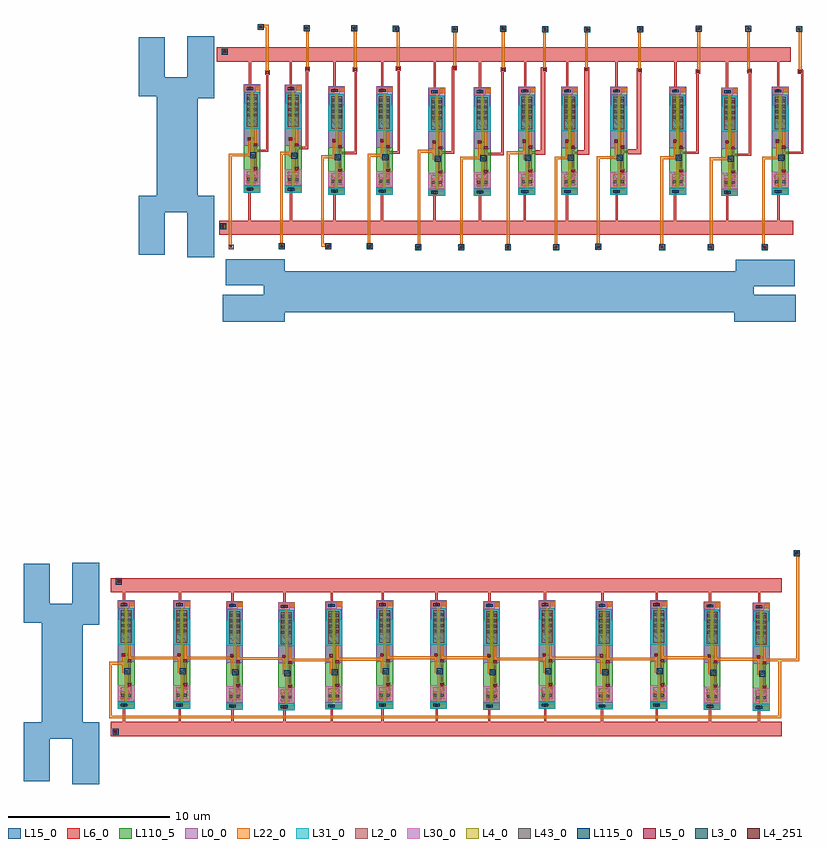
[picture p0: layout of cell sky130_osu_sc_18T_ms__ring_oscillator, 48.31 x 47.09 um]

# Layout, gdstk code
import gdstk
lib = gdstk.Library(unit=1e-6, precision=1e-09)
def R(c, l, rs):  # rectangles x0, y0, x1, y1
    for r in rs: c.add(gdstk.rectangle(r[:2], r[2:], *l))
def A(c, l, x, y, w, h, nx, ny, dx, dy):  # array of equal rectangles
    R(c, l, [(x+i*dx, y+j*dy, x+i*dx+w, y+j*dy+h) for i in range(nx) for j in range(ny)])
L0_0 = (0, 0)
L2_0 = (2, 0)
L3_0 = (3, 0)
L4_0 = (4, 0)
L4_251 = (4, 251)
L5_0 = (5, 0)
L6_0 = (6, 0)
L15_0 = (15, 0)
L22_0 = (22, 0)
L30_0 = (30, 0)
L31_0 = (31, 0)
L43_0 = (43, 0)
L110_5 = (110, 5)
L115_0 = (115, 0)

sky130_osu_sc_18t_ms__in = lib.new_cell('sky130_osu_sc_18T_ms__inv_l')
R(sky130_osu_sc_18t_ms__in, L0_0, [(-0.045,2.905,0.995,6.705)])
R(sky130_osu_sc_18t_ms__in, L2_0, [(0.135,0.575,0.815,1.315), (0.135,4.085,0.815,6.085)])
R(sky130_osu_sc_18t_ms__in, L3_0, [(0.135,0.135,0.545,0.305), (0.135,6.355,0.545,6.525)])
R(sky130_osu_sc_18t_ms__in, L4_0, [(0.4,0.445,0.55,2.14), (0.4,2.14,0.67,2.47), (0.4,2.47,0.55,6.215)])
R(sky130_osu_sc_18t_ms__in, L5_0, [(0.255,0.105,0.425,0.275), (0.605,1.395,0.775,1.565), (0.605,2.875,0.775,3.045), (0.235,3.245,0.405,3.415), (0.255,6.385,0.425,6.555)])
R(sky130_osu_sc_18t_ms__in, L6_0, [(0,0,0.99,0.305), (0.545,1.365,0.835,1.595), (0.605,1.595,0.775,2.845), (0.545,2.845,0.835,3.075), (0.175,3.215,0.465,3.245), (0.175,3.245,0.635,3.415), (0.175,3.415,0.465,3.445), (0,6.355,0.99,6.66)])
R(sky130_osu_sc_18t_ms__in, L22_0, [(0,0,0.99,0.305), (0.175,0.305,0.345,1.075), (0.605,0.575,0.775,1.565), (0.235,2.22,0.7,2.39), (0.235,2.39,0.405,3.415), (0.605,2.875,0.775,6.085), (0.175,4.565,0.345,6.355), (0,6.355,0.99,6.66)])
R(sky130_osu_sc_18t_ms__in, L30_0, [(-0.045,0.45,0.995,1.44), (0.01,6.23,0.67,6.65)])
R(sky130_osu_sc_18t_ms__in, L31_0, [(-0.045,0,0.995,0.43), (-0.045,3.96,0.995,5.55), (0.01,5.55,0.94,6.21)])
A(sky130_osu_sc_18t_ms__in, L43_0, 0.175, 4.73, 0.17, 0.17, 1, 4, 0, 0.34)
A(sky130_osu_sc_18t_ms__in, L43_0, 0.605, 4.73, 0.17, 0.17, 1, 4, 0, 0.34)
R(sky130_osu_sc_18t_ms__in, L43_0, [(0.255,0.135,0.425,0.305), (0.175,0.74,0.345,0.91), (0.605,0.74,0.775,0.91), (0.45,2.22,0.62,2.39), (0.255,6.355,0.425,6.525)])
R(sky130_osu_sc_18t_ms__in, L110_5, [(-0.045,0,0.995,5.55)])
R(sky130_osu_sc_18t_ms__in, L115_0, [(0.35,2.12,0.72,2.49)])
sky130_osu_sc_18t_ms__in.add(gdstk.Label('vdd', (0.34,6.42), layer=6, texttype=251))
sky130_osu_sc_18t_ms__in.add(gdstk.Label('gnd', (0.34,0.24), layer=6, texttype=251))
sky130_osu_sc_18t_ms__in.add(gdstk.Label('Y', (0.755,2.205), layer=6, texttype=237))
sky130_osu_sc_18t_ms__in.add(gdstk.Label('A', (0.32,3.33), layer=6, texttype=237))

pyl1_c_cdns_713893801020 = lib.new_cell('PYL1_C_CDNS_713893801020')
R(pyl1_c_cdns_713893801020, L4_0, [(-0.165,-0.165,0.165,0.165)])
R(pyl1_c_cdns_713893801020, L22_0, [(-0.165,-0.165,0.165,0.165)])
R(pyl1_c_cdns_713893801020, L43_0, [(-0.085,-0.085,0.085,0.085)])
R(pyl1_c_cdns_713893801020, L115_0, [(-0.185,-0.185,0.185,0.185)])

l1m1_c_cdns_713893801021 = lib.new_cell('L1M1_C_CDNS_713893801021')
R(l1m1_c_cdns_713893801021, L5_0, [(-0.085,-0.085,0.085,0.085)])
R(l1m1_c_cdns_713893801021, L6_0, [(-0.145,-0.145,0.145,0.145)])
R(l1m1_c_cdns_713893801021, L22_0, [(-0.085,-0.085,0.085,0.085)])

sky130_osu_sc_18t_ms__ri = lib.new_cell('sky130_osu_sc_18T_ms__ring_oscillator')
R(sky130_osu_sc_18t_ms__ri, L4_251, [(6.18,4.98,6.28,5.08), (6.19,4.98,6.29,5.08), (6.37,14.28,6.47,14.38), (48.37,16.08,48.47,16.18), (30.49,34.99,30.59,35.09), (46.4,34.995,46.5,35.095), (27.58,35,27.68,35.1), (33.475,35,33.575,35.1), (24.935,35.005,25.035,35.105), (40.04,35.01,40.14,35.11), (43.06,35.01,43.16,35.11), (36.08,35.02,36.18,35.12), (13.33,35.04,13.43,35.14), (16.455,35.045,16.555,35.145), (19.35,35.055,19.45,35.155), (21.935,35.06,22.035,35.16), (12.84,36.3,12.94,36.4), (12.935,47.095,13.035,47.195), (12.93,47.115,13.03,47.215), (35.4,48.495,35.5,48.595), (32.79,48.5,32.89,48.6), (27.18,48.515,27.28,48.615), (38.68,48.515,38.78,48.615), (48.525,48.525,48.625,48.625), (30.2,48.535,30.3,48.635), (23.55,48.545,23.65,48.645), (42.315,48.545,42.415,48.645), (45.38,48.555,45.48,48.655), (20.98,48.58,21.08,48.68), (18.02,48.585,18.12,48.685), (15.16,48.65,15.26,48.75)])
R(sky130_osu_sc_18t_ms__ri, L6_0, [(5.935,4.76,47.505,5.64), (5.935,13.66,47.505,14.54), (12.645,35.815,48.215,36.695), (12.485,46.555,48.055,47.435)])
R(sky130_osu_sc_18t_ms__ri, L15_0, [(3.555,1.79,5.225,5.62), (0.53,1.955,2.15,5.62), (1.665,4.595,4.2,12.955), (3.555,11.66,5.225,15.49), (0.53,11.77,2.15,15.435), (12.88,30.43,16.71,32.1), (44.545,30.43,48.375,32.1), (15.42,31.025,45.78,33.56), (44.655,32.645,48.32,34.265), (13.045,32.695,16.71,34.315), (10.675,34.42,12.345,38.25), (7.65,34.585,9.27,38.25), (8.785,37.225,11.32,45.585), (10.675,44.29,12.345,48.12), (7.65,44.4,9.27,48.065)])
R(sky130_osu_sc_18t_ms__ri, L43_0, [(13.25,34.93,13.55,35.19)])
sky130_osu_sc_18t_ms__ri.add(gdstk.FlexPath([(48.77,45.935),(48.65,45.935)], 0.14, ends=(0.07, 0), simple_path=True, layer=6, datatype=0))  # L6_0
sky130_osu_sc_18t_ms__ri.add(gdstk.FlexPath([(48.77,40.905),(48.77,45.935)], 0.14, ends="extended", simple_path=True, layer=6, datatype=0))  # L6_0
sky130_osu_sc_18t_ms__ri.add(gdstk.FlexPath([(48.08,40.905),(48.77,40.905)], 0.14, ends=(0.145, 0.07), simple_path=True, layer=6, datatype=0))  # L6_0
sky130_osu_sc_18t_ms__ri.add(gdstk.FlexPath([(45.495,45.965),(45.54,45.965)], 0.14, ends=(0, 0.07), simple_path=True, layer=6, datatype=0))  # L6_0
sky130_osu_sc_18t_ms__ri.add(gdstk.FlexPath([(45.54,45.965),(45.54,40.78)], 0.14, ends="extended", simple_path=True, layer=6, datatype=0))  # L6_0
sky130_osu_sc_18t_ms__ri.add(gdstk.FlexPath([(42.305,45.935),(42.285,45.935)], 0.14, ends=(0, 0.07), simple_path=True, layer=6, datatype=0))  # L6_0
sky130_osu_sc_18t_ms__ri.add(gdstk.FlexPath([(42.285,45.935),(42.285,40.91)], 0.14, ends="extended", simple_path=True, layer=6, datatype=0))  # L6_0
sky130_osu_sc_18t_ms__ri.add(gdstk.FlexPath([(42.285,40.91),(41.735,40.91)], 0.14, ends=(0.07, 0.145), simple_path=True, layer=6, datatype=0))  # L6_0
sky130_osu_sc_18t_ms__ri.add(gdstk.FlexPath([(38.655,45.995),(38.69,45.995)], 0.29, ends=(0.145, 0), simple_path=True, layer=6, datatype=0))  # L6_0
sky130_osu_sc_18t_ms__ri.add(gdstk.FlexPath([(38.655,40.965),(38.655,45.995)], 0.29, ends="extended", simple_path=True, layer=6, datatype=0))  # L6_0
sky130_osu_sc_18t_ms__ri.add(gdstk.FlexPath([(38.15,40.965),(38.655,40.965)], 0.29, ends="extended", simple_path=True, layer=6, datatype=0))  # L6_0
sky130_osu_sc_18t_ms__ri.add(gdstk.FlexPath([(35.415,46.055),(35.41,46.055)], 0.29, ends=(0.145, 0), simple_path=True, layer=6, datatype=0))  # L6_0
sky130_osu_sc_18t_ms__ri.add(gdstk.FlexPath([(35.415,40.91),(35.415,46.055)], 0.29, ends="extended", simple_path=True, layer=6, datatype=0))  # L6_0
sky130_osu_sc_18t_ms__ri.add(gdstk.FlexPath([(35.01,40.91),(35.415,40.91)], 0.29, ends="extended", simple_path=True, layer=6, datatype=0))  # L6_0
sky130_osu_sc_18t_ms__ri.add(gdstk.FlexPath([(32.71,46.055),(32.795,46.055)], 0.29, ends=(0.145, 0), simple_path=True, layer=6, datatype=0))  # L6_0
sky130_osu_sc_18t_ms__ri.add(gdstk.FlexPath([(32.71,40.925),(32.71,46.055)], 0.29, ends="extended", simple_path=True, layer=6, datatype=0))  # L6_0
sky130_osu_sc_18t_ms__ri.add(gdstk.FlexPath([(32.345,40.925),(32.71,40.925)], 0.29, ends="extended", simple_path=True, layer=6, datatype=0))  # L6_0
sky130_osu_sc_18t_ms__ri.add(gdstk.FlexPath([(30.2,46.055),(30.245,46.055)], 0.14, ends=(0.07, 0), simple_path=True, layer=6, datatype=0))  # L6_0
sky130_osu_sc_18t_ms__ri.add(gdstk.FlexPath([(30.2,40.825),(30.2,46.055)], 0.14, ends="extended", simple_path=True, layer=6, datatype=0))  # L6_0
sky130_osu_sc_18t_ms__ri.add(gdstk.FlexPath([(29.53,40.825),(30.2,40.825)], 0.14, ends="extended", simple_path=True, layer=6, datatype=0))  # L6_0
sky130_osu_sc_18t_ms__ri.add(gdstk.FlexPath([(27.125,46.145),(27.235,46.145)], 0.14, ends=(0.07, 0), simple_path=True, layer=6, datatype=0))  # L6_0
sky130_osu_sc_18t_ms__ri.add(gdstk.FlexPath([(27.125,40.925),(27.125,46.145)], 0.14, ends="extended", simple_path=True, layer=6, datatype=0))  # L6_0
sky130_osu_sc_18t_ms__ri.add(gdstk.FlexPath([(26.685,40.925),(27.125,40.925)], 0.14, ends=(0.145, 0.07), simple_path=True, layer=6, datatype=0))  # L6_0
sky130_osu_sc_18t_ms__ri.add(gdstk.FlexPath([(23.775,46.115),(23.74,46.115)], 0.14, ends=(0.07, 0), simple_path=True, layer=6, datatype=0))  # L6_0
sky130_osu_sc_18t_ms__ri.add(gdstk.FlexPath([(23.775,40.92),(23.775,46.115)], 0.14, ends="extended", simple_path=True, layer=6, datatype=0))  # L6_0
sky130_osu_sc_18t_ms__ri.add(gdstk.FlexPath([(21.1,46.055),(21.07,46.055)], 0.14, ends=(0.07, 0), simple_path=True, layer=6, datatype=0))  # L6_0
sky130_osu_sc_18t_ms__ri.add(gdstk.FlexPath([(21.1,40.89),(21.1,46.055)], 0.14, ends="extended", simple_path=True, layer=6, datatype=0))  # L6_0
sky130_osu_sc_18t_ms__ri.add(gdstk.FlexPath([(18.09,46.085),(18.12,46.085)], 0.14, ends=(0.07, 0), simple_path=True, layer=6, datatype=0))  # L6_0
sky130_osu_sc_18t_ms__ri.add(gdstk.FlexPath([(18.09,41.195),(18.09,46.085)], 0.14, ends="extended", simple_path=True, layer=6, datatype=0))  # L6_0
sky130_osu_sc_18t_ms__ri.add(gdstk.FlexPath([(15.625,45.875),(15.63,45.875)], 0.14, ends=(0.07, 0), simple_path=True, layer=6, datatype=0))  # L6_0
sky130_osu_sc_18t_ms__ri.add(gdstk.FlexPath([(15.625,41.02),(15.625,45.875)], 0.14, ends="extended", simple_path=True, layer=6, datatype=0))  # L6_0
sky130_osu_sc_18t_ms__ri.add(gdstk.FlexPath([(46.1,6.595),(46.1,4.925)], 0.14, ends="flush", simple_path=True, layer=6, datatype=0))  # L6_0
sky130_osu_sc_18t_ms__ri.add(gdstk.FlexPath([(43.06,6.65),(43.06,4.95)], 0.14, ends="flush", simple_path=True, layer=6, datatype=0))  # L6_0
sky130_osu_sc_18t_ms__ri.add(gdstk.FlexPath([(39.755,6.72),(39.755,4.845)], 0.14, ends="flush", simple_path=True, layer=6, datatype=0))  # L6_0
sky130_osu_sc_18t_ms__ri.add(gdstk.FlexPath([(36.37,6.665),(36.37,4.875)], 0.14, ends="flush", simple_path=True, layer=6, datatype=0))  # L6_0
sky130_osu_sc_18t_ms__ri.add(gdstk.FlexPath([(32.845,6.735),(32.845,4.945)], 0.14, ends="flush", simple_path=True, layer=6, datatype=0))  # L6_0
sky130_osu_sc_18t_ms__ri.add(gdstk.FlexPath([(29.375,6.68),(29.375,4.915)], 0.14, ends="flush", simple_path=True, layer=6, datatype=0))  # L6_0
sky130_osu_sc_18t_ms__ri.add(gdstk.FlexPath([(26.12,6.73),(26.12,4.915)], 0.14, ends="flush", simple_path=True, layer=6, datatype=0))  # L6_0
sky130_osu_sc_18t_ms__ri.add(gdstk.FlexPath([(22.76,6.72),(22.76,4.9)], 0.14, ends="flush", simple_path=True, layer=6, datatype=0))  # L6_0
sky130_osu_sc_18t_ms__ri.add(gdstk.FlexPath([(19.625,6.68),(19.625,4.895)], 0.14, ends="flush", simple_path=True, layer=6, datatype=0))  # L6_0
sky130_osu_sc_18t_ms__ri.add(gdstk.FlexPath([(16.69,6.615),(16.69,4.95)], 0.14, ends="flush", simple_path=True, layer=6, datatype=0))  # L6_0
sky130_osu_sc_18t_ms__ri.add(gdstk.FlexPath([(13.47,6.665),(13.47,4.945)], 0.14, ends="flush", simple_path=True, layer=6, datatype=0))  # L6_0
sky130_osu_sc_18t_ms__ri.add(gdstk.FlexPath([(10.195,6.735),(10.195,4.93)], 0.14, ends="flush", simple_path=True, layer=6, datatype=0))  # L6_0
sky130_osu_sc_18t_ms__ri.add(gdstk.FlexPath([(46.11,12.725),(46.11,14.41)], 0.14, ends="flush", simple_path=True, layer=6, datatype=0))  # L6_0
sky130_osu_sc_18t_ms__ri.add(gdstk.FlexPath([(43.06,12.755),(43.06,14.435)], 0.14, ends="flush", simple_path=True, layer=6, datatype=0))  # L6_0
sky130_osu_sc_18t_ms__ri.add(gdstk.FlexPath([(39.76,12.84),(39.76,14.425)], 0.14, ends="flush", simple_path=True, layer=6, datatype=0))  # L6_0
sky130_osu_sc_18t_ms__ri.add(gdstk.FlexPath([(36.39,12.795),(36.39,14.385)], 0.14, ends="flush", simple_path=True, layer=6, datatype=0))  # L6_0
sky130_osu_sc_18t_ms__ri.add(gdstk.FlexPath([(32.83,12.86),(32.83,14.41)], 0.14, ends="flush", simple_path=True, layer=6, datatype=0))  # L6_0
sky130_osu_sc_18t_ms__ri.add(gdstk.FlexPath([(29.4,12.81),(29.4,14.4)], 0.14, ends="flush", simple_path=True, layer=6, datatype=0))  # L6_0
sky130_osu_sc_18t_ms__ri.add(gdstk.FlexPath([(26.11,12.865),(26.11,14.425)], 0.14, ends="flush", simple_path=True, layer=6, datatype=0))  # L6_0
sky130_osu_sc_18t_ms__ri.add(gdstk.FlexPath([(22.78,12.85),(22.78,14.37)], 0.14, ends="flush", simple_path=True, layer=6, datatype=0))  # L6_0
sky130_osu_sc_18t_ms__ri.add(gdstk.FlexPath([(19.615,12.81),(19.615,14.385)], 0.14, ends="flush", simple_path=True, layer=6, datatype=0))  # L6_0
sky130_osu_sc_18t_ms__ri.add(gdstk.FlexPath([(16.685,12.775),(16.685,14.37)], 0.14, ends="flush", simple_path=True, layer=6, datatype=0))  # L6_0
sky130_osu_sc_18t_ms__ri.add(gdstk.FlexPath([(13.475,12.81),(13.475,14.425)], 0.14, ends="flush", simple_path=True, layer=6, datatype=0))  # L6_0
sky130_osu_sc_18t_ms__ri.add(gdstk.FlexPath([(14.525,38.705),(14.525,36.11)], 0.14, ends="flush", simple_path=True, layer=6, datatype=0))  # L6_0
sky130_osu_sc_18t_ms__ri.add(gdstk.FlexPath([(17.09,36.04),(17.22,36.04)], 0.14, ends=(0.07, 0), simple_path=True, layer=6, datatype=0))  # L6_0
sky130_osu_sc_18t_ms__ri.add(gdstk.FlexPath([(17.09,38.68),(17.09,36.04)], 0.14, ends=(0, 0.07), simple_path=True, layer=6, datatype=0))  # L6_0
sky130_osu_sc_18t_ms__ri.add(gdstk.FlexPath([(19.785,38.565),(19.785,36.04)], 0.14, ends="flush", simple_path=True, layer=6, datatype=0))  # L6_0
sky130_osu_sc_18t_ms__ri.add(gdstk.FlexPath([(22.735,38.59),(22.735,36.025)], 0.14, ends="flush", simple_path=True, layer=6, datatype=0))  # L6_0
sky130_osu_sc_18t_ms__ri.add(gdstk.FlexPath([(25.99,38.495),(25.99,36.085)], 0.14, ends="flush", simple_path=True, layer=6, datatype=0))  # L6_0
sky130_osu_sc_18t_ms__ri.add(gdstk.FlexPath([(28.8,38.525),(28.8,36.115)], 0.14, ends="flush", simple_path=True, layer=6, datatype=0))  # L6_0
sky130_osu_sc_18t_ms__ri.add(gdstk.FlexPath([(31.58,38.58),(31.58,36.1)], 0.14, ends="flush", simple_path=True, layer=6, datatype=0))  # L6_0
sky130_osu_sc_18t_ms__ri.add(gdstk.FlexPath([(34.2,38.55),(34.2,36.17)], 0.14, ends="flush", simple_path=True, layer=6, datatype=0))  # L6_0
sky130_osu_sc_18t_ms__ri.add(gdstk.FlexPath([(37.28,38.54),(37.28,36.07)], 0.14, ends="flush", simple_path=True, layer=6, datatype=0))  # L6_0
sky130_osu_sc_18t_ms__ri.add(gdstk.FlexPath([(40.895,38.565),(40.895,36.07)], 0.14, ends="flush", simple_path=True, layer=6, datatype=0))  # L6_0
sky130_osu_sc_18t_ms__ri.add(gdstk.FlexPath([(44.125,38.51),(44.125,36.04)], 0.14, ends="flush", simple_path=True, layer=6, datatype=0))  # L6_0
sky130_osu_sc_18t_ms__ri.add(gdstk.FlexPath([(47.305,38.54),(47.305,35.93)], 0.14, ends="flush", simple_path=True, layer=6, datatype=0))  # L6_0
sky130_osu_sc_18t_ms__ri.add(gdstk.FlexPath([(47.29,44.675),(47.29,47.255)], 0.14, ends="flush", simple_path=True, layer=6, datatype=0))  # L6_0
sky130_osu_sc_18t_ms__ri.add(gdstk.FlexPath([(44.115,44.675),(44.115,47.185)], 0.14, ends="flush", simple_path=True, layer=6, datatype=0))  # L6_0
sky130_osu_sc_18t_ms__ri.add(gdstk.FlexPath([(40.925,44.675),(40.925,47.24)], 0.14, ends="flush", simple_path=True, layer=6, datatype=0))  # L6_0
sky130_osu_sc_18t_ms__ri.add(gdstk.FlexPath([(37.265,44.675),(37.265,47.23)], 0.14, ends="flush", simple_path=True, layer=6, datatype=0))  # L6_0
sky130_osu_sc_18t_ms__ri.add(gdstk.FlexPath([(34.215,44.69),(34.215,47.215)], 0.14, ends="flush", simple_path=True, layer=6, datatype=0))  # L6_0
sky130_osu_sc_18t_ms__ri.add(gdstk.FlexPath([(31.61,44.69),(31.61,47.17)], 0.14, ends="flush", simple_path=True, layer=6, datatype=0))  # L6_0
sky130_osu_sc_18t_ms__ri.add(gdstk.FlexPath([(28.8,44.66),(28.8,47.215)], 0.14, ends="flush", simple_path=True, layer=6, datatype=0))  # L6_0
sky130_osu_sc_18t_ms__ri.add(gdstk.FlexPath([(26.005,44.635),(26.005,47.24)], 0.14, ends="flush", simple_path=True, layer=6, datatype=0))  # L6_0
sky130_osu_sc_18t_ms__ri.add(gdstk.FlexPath([(22.745,44.705),(22.745,47.185)], 0.14, ends="flush", simple_path=True, layer=6, datatype=0))  # L6_0
sky130_osu_sc_18t_ms__ri.add(gdstk.FlexPath([(19.785,44.675),(19.785,47.17)], 0.14, ends="flush", simple_path=True, layer=6, datatype=0))  # L6_0
sky130_osu_sc_18t_ms__ri.add(gdstk.FlexPath([(17.075,44.79),(17.075,47.24)], 0.14, ends="flush", simple_path=True, layer=6, datatype=0))  # L6_0
sky130_osu_sc_18t_ms__ri.add(gdstk.FlexPath([(14.55,44.82),(14.55,47.27)], 0.14, ends="flush", simple_path=True, layer=6, datatype=0))  # L6_0
sky130_osu_sc_18t_ms__ri.add(gdstk.FlexPath([(6.75,6.715),(6.75,4.895)], 0.14, ends="flush", simple_path=True, layer=6, datatype=0))  # L6_0
sky130_osu_sc_18t_ms__ri.add(gdstk.FlexPath([(6.745,12.85),(6.745,14.375)], 0.14, ends="flush", simple_path=True, layer=6, datatype=0))  # L6_0
sky130_osu_sc_18t_ms__ri.add(gdstk.FlexPath([(10.21,12.86),(10.21,14.375)], 0.14, ends="flush", simple_path=True, layer=6, datatype=0))  # L6_0
sky130_osu_sc_18t_ms__ri.add(gdstk.FlexPath([(47.54,40.905),(48.08,40.905)], 0.14, ends=(0, 0.145), simple_path=True, layer=6, datatype=0))  # L6_0
sky130_osu_sc_18t_ms__ri.add(gdstk.FlexPath([(48.08,40.905),(48.08,40.83)], 0.29, ends=(0.07, 0), simple_path=True, layer=6, datatype=0))  # L6_0
sky130_osu_sc_18t_ms__ri.add(gdstk.FlexPath([(45.54,40.78),(44.4,40.78)], 0.14, ends=(0.07, 0), simple_path=True, layer=6, datatype=0))  # L6_0
sky130_osu_sc_18t_ms__ri.add(gdstk.FlexPath([(41.19,40.91),(41.735,40.91)], 0.14, ends=(0, 0.145), simple_path=True, layer=6, datatype=0))  # L6_0
sky130_osu_sc_18t_ms__ri.add(gdstk.FlexPath([(41.735,40.91),(41.735,40.835)], 0.29, ends=(0.07, 0), simple_path=True, layer=6, datatype=0))  # L6_0
sky130_osu_sc_18t_ms__ri.add(gdstk.FlexPath([(37.535,40.965),(38.15,40.965)], 0.14, ends=(0, 0.145), simple_path=True, layer=6, datatype=0))  # L6_0
sky130_osu_sc_18t_ms__ri.add(gdstk.FlexPath([(38.15,40.965),(38.15,40.89)], 0.29, ends=(0.145, 0), simple_path=True, layer=6, datatype=0))  # L6_0
sky130_osu_sc_18t_ms__ri.add(gdstk.FlexPath([(34.49,40.91),(35.01,40.91)], 0.14, ends=(0, 0.145), simple_path=True, layer=6, datatype=0))  # L6_0
sky130_osu_sc_18t_ms__ri.add(gdstk.FlexPath([(35.01,40.91),(35.01,40.835)], 0.29, ends=(0.145, 0), simple_path=True, layer=6, datatype=0))  # L6_0
sky130_osu_sc_18t_ms__ri.add(gdstk.FlexPath([(31.84,40.925),(32.345,40.925)], 0.14, ends=(0, 0.145), simple_path=True, layer=6, datatype=0))  # L6_0
sky130_osu_sc_18t_ms__ri.add(gdstk.FlexPath([(32.345,40.925),(32.345,40.85)], 0.29, ends=(0.145, 0), simple_path=True, layer=6, datatype=0))  # L6_0
sky130_osu_sc_18t_ms__ri.add(gdstk.FlexPath([(29.53,40.825),(29.53,40.79)], 0.14, ends=(0.07, 0), simple_path=True, layer=6, datatype=0))  # L6_0
sky130_osu_sc_18t_ms__ri.add(gdstk.FlexPath([(29.205,40.825),(29.53,40.825)], 0.14, ends=(0, 0.07), simple_path=True, layer=6, datatype=0))  # L6_0
sky130_osu_sc_18t_ms__ri.add(gdstk.FlexPath([(26.26,40.925),(26.685,40.925)], 0.14, ends=(0, 0.145), simple_path=True, layer=6, datatype=0))  # L6_0
sky130_osu_sc_18t_ms__ri.add(gdstk.FlexPath([(26.685,40.925),(26.685,40.85)], 0.29, ends=(0.07, 0), simple_path=True, layer=6, datatype=0))  # L6_0
sky130_osu_sc_18t_ms__ri.add(gdstk.FlexPath([(23.015,40.92),(23.775,40.92)], 0.14, ends=(0, 0.07), simple_path=True, layer=6, datatype=0))  # L6_0
sky130_osu_sc_18t_ms__ri.add(gdstk.FlexPath([(20.05,40.89),(21.1,40.89)], 0.14, ends=(0, 0.07), simple_path=True, layer=6, datatype=0))  # L6_0
sky130_osu_sc_18t_ms__ri.add(gdstk.FlexPath([(17.36,41.195),(18.09,41.195)], 0.14, ends=(0, 0.07), simple_path=True, layer=6, datatype=0))  # L6_0
sky130_osu_sc_18t_ms__ri.add(gdstk.FlexPath([(14.915,41.02),(15.625,41.02)], 0.14, ends=(0, 0.07), simple_path=True, layer=6, datatype=0))  # L6_0
sky130_osu_sc_18t_ms__ri.add(gdstk.FlexPath([(48.495,16.08),(48.43,16.08)], 0.17, ends=(0.085, 0), simple_path=True, layer=22, datatype=0))  # L22_0
sky130_osu_sc_18t_ms__ri.add(gdstk.FlexPath([(48.495,9.475),(48.495,16.08)], 0.17, ends="extended", simple_path=True, layer=22, datatype=0))  # L22_0
sky130_osu_sc_18t_ms__ri.add(gdstk.FlexPath([(47.68,9.475),(48.495,9.475)], 0.17, ends="extended", simple_path=True, layer=22, datatype=0))  # L22_0
sky130_osu_sc_18t_ms__ri.add(gdstk.FlexPath([(48.65,48.57),(48.575,48.57)], 0.17, ends=(0.085, 0), simple_path=True, layer=22, datatype=0))  # L22_0
sky130_osu_sc_18t_ms__ri.add(gdstk.FlexPath([(48.65,45.935),(48.65,48.57)], 0.17, ends=(0, 0.085), simple_path=True, layer=22, datatype=0))  # L22_0
sky130_osu_sc_18t_ms__ri.add(gdstk.FlexPath([(45.44,45.965),(45.495,45.965)], 0.17, ends=(0.085, 0), simple_path=True, layer=22, datatype=0))  # L22_0
sky130_osu_sc_18t_ms__ri.add(gdstk.FlexPath([(45.44,48.6),(45.44,45.965)], 0.17, ends=(0, 0.085), simple_path=True, layer=22, datatype=0))  # L22_0
sky130_osu_sc_18t_ms__ri.add(gdstk.FlexPath([(42.365,45.935),(42.305,45.935)], 0.17, ends=(0.085, 0), simple_path=True, layer=22, datatype=0))  # L22_0
sky130_osu_sc_18t_ms__ri.add(gdstk.FlexPath([(42.365,48.595),(42.365,45.935)], 0.17, ends=(0, 0.085), simple_path=True, layer=22, datatype=0))  # L22_0
sky130_osu_sc_18t_ms__ri.add(gdstk.FlexPath([(38.69,48.56),(38.73,48.56)], 0.17, ends=(0.085, 0), simple_path=True, layer=22, datatype=0))  # L22_0
sky130_osu_sc_18t_ms__ri.add(gdstk.FlexPath([(38.69,45.995),(38.69,48.56)], 0.17, ends=(0, 0.085), simple_path=True, layer=22, datatype=0))  # L22_0
sky130_osu_sc_18t_ms__ri.add(gdstk.FlexPath([(35.41,48.54),(35.45,48.54)], 0.17, ends=(0.085, 0), simple_path=True, layer=22, datatype=0))  # L22_0
sky130_osu_sc_18t_ms__ri.add(gdstk.FlexPath([(35.41,46.055),(35.41,48.54)], 0.17, ends=(0, 0.085), simple_path=True, layer=22, datatype=0))  # L22_0
sky130_osu_sc_18t_ms__ri.add(gdstk.FlexPath([(32.795,48.55),(32.835,48.55)], 0.17, ends=(0.085, 0), simple_path=True, layer=22, datatype=0))  # L22_0
sky130_osu_sc_18t_ms__ri.add(gdstk.FlexPath([(32.795,46.055),(32.795,48.55)], 0.17, ends=(0, 0.085), simple_path=True, layer=22, datatype=0))  # L22_0
sky130_osu_sc_18t_ms__ri.add(gdstk.FlexPath([(30.245,46.055),(30.25,46.055)], 0.17, ends=(0, 0.085), simple_path=True, layer=22, datatype=0))  # L22_0
sky130_osu_sc_18t_ms__ri.add(gdstk.FlexPath([(30.25,46.055),(30.25,48.585)], 0.17, ends=(0.085, 0), simple_path=True, layer=22, datatype=0))  # L22_0
sky130_osu_sc_18t_ms__ri.add(gdstk.FlexPath([(27.235,48.56),(27.23,48.56)], 0.17, ends=(0.085, 0), simple_path=True, layer=22, datatype=0))  # L22_0
sky130_osu_sc_18t_ms__ri.add(gdstk.FlexPath([(27.235,46.145),(27.235,48.56)], 0.17, ends=(0, 0.085), simple_path=True, layer=22, datatype=0))  # L22_0
sky130_osu_sc_18t_ms__ri.add(gdstk.FlexPath([(23.74,48.59),(23.595,48.59)], 0.17, ends=(0.085, 0), simple_path=True, layer=22, datatype=0))  # L22_0
sky130_osu_sc_18t_ms__ri.add(gdstk.FlexPath([(23.74,46.115),(23.74,48.59)], 0.17, ends=(0, 0.085), simple_path=True, layer=22, datatype=0))  # L22_0
sky130_osu_sc_18t_ms__ri.add(gdstk.FlexPath([(21.07,48.62),(21.025,48.62)], 0.17, ends=(0.085, 0), simple_path=True, layer=22, datatype=0))  # L22_0
sky130_osu_sc_18t_ms__ri.add(gdstk.FlexPath([(18.12,48.625),(18.07,48.625)], 0.17, ends=(0.085, 0), simple_path=True, layer=22, datatype=0))  # L22_0
sky130_osu_sc_18t_ms__ri.add(gdstk.FlexPath([(18.12,46.085),(18.12,48.625)], 0.17, ends=(0, 0.085), simple_path=True, layer=22, datatype=0))  # L22_0
sky130_osu_sc_18t_ms__ri.add(gdstk.FlexPath([(15.21,48.755),(15.21,48.695)], 0.17, ends=(0.085, 0), simple_path=True, layer=22, datatype=0))  # L22_0
sky130_osu_sc_18t_ms__ri.add(gdstk.FlexPath([(15.63,48.755),(15.21,48.755)], 0.17, ends="extended", simple_path=True, layer=22, datatype=0))  # L22_0
sky130_osu_sc_18t_ms__ri.add(gdstk.FlexPath([(15.63,45.875),(15.63,48.755)], 0.17, ends=(0, 0.085), simple_path=True, layer=22, datatype=0))  # L22_0
sky130_osu_sc_18t_ms__ri.add(gdstk.FlexPath([(46.37,35.04),(46.45,35.04)], 0.17, ends=(0.085, 0), simple_path=True, layer=22, datatype=0))  # L22_0
sky130_osu_sc_18t_ms__ri.add(gdstk.FlexPath([(46.37,40.585),(46.37,35.04)], 0.17, ends="extended", simple_path=True, layer=22, datatype=0))  # L22_0
sky130_osu_sc_18t_ms__ri.add(gdstk.FlexPath([(47.615,40.585),(46.37,40.585)], 0.17, ends=(0, 0.085), simple_path=True, layer=22, datatype=0))  # L22_0
sky130_osu_sc_18t_ms__ri.add(gdstk.FlexPath([(43.135,35.06),(43.11,35.06)], 0.17, ends=(0.085, 0), simple_path=True, layer=22, datatype=0))  # L22_0
sky130_osu_sc_18t_ms__ri.add(gdstk.FlexPath([(43.135,40.53),(43.135,35.06)], 0.17, ends="extended", simple_path=True, layer=22, datatype=0))  # L22_0
sky130_osu_sc_18t_ms__ri.add(gdstk.FlexPath([(44.485,40.53),(43.135,40.53)], 0.17, ends=(0, 0.085), simple_path=True, layer=22, datatype=0))  # L22_0
sky130_osu_sc_18t_ms__ri.add(gdstk.FlexPath([(40.06,35.055),(40.09,35.055)], 0.17, ends=(0.085, 0), simple_path=True, layer=22, datatype=0))  # L22_0
sky130_osu_sc_18t_ms__ri.add(gdstk.FlexPath([(40.06,40.6),(40.06,35.055)], 0.17, ends="extended", simple_path=True, layer=22, datatype=0))  # L22_0
sky130_osu_sc_18t_ms__ri.add(gdstk.FlexPath([(41.275,40.6),(40.06,40.6)], 0.17, ends=(0, 0.085), simple_path=True, layer=22, datatype=0))  # L22_0
sky130_osu_sc_18t_ms__ri.add(gdstk.FlexPath([(36.13,40.61),(37.58,40.61)], 0.17, ends=(0.085, 0), simple_path=True, layer=22, datatype=0))  # L22_0
sky130_osu_sc_18t_ms__ri.add(gdstk.FlexPath([(36.13,35.065),(36.13,40.61)], 0.17, ends=(0, 0.085), simple_path=True, layer=22, datatype=0))  # L22_0
sky130_osu_sc_18t_ms__ri.add(gdstk.FlexPath([(33.52,40.575),(34.49,40.575)], 0.17, ends=(0.085, 0), simple_path=True, layer=22, datatype=0))  # L22_0
sky130_osu_sc_18t_ms__ri.add(gdstk.FlexPath([(33.52,35.055),(33.52,40.575)], 0.17, ends=(0, 0.085), simple_path=True, layer=22, datatype=0))  # L22_0
sky130_osu_sc_18t_ms__ri.add(gdstk.FlexPath([(30.555,35.04),(30.555,40.91)], 0.17, ends="extended", simple_path=True, layer=22, datatype=0))  # L22_0
sky130_osu_sc_18t_ms__ri.add(gdstk.FlexPath([(30.54,35.04),(30.555,35.04)], 0.17, ends=(0.165, 0.085), simple_path=True, layer=22, datatype=0))  # L22_0
sky130_osu_sc_18t_ms__ri.add(gdstk.FlexPath([(27.64,35.04),(27.64,35.125)], 0.17, ends="flush", simple_path=True, layer=22, datatype=0))  # L22_0
sky130_osu_sc_18t_ms__ri.add(gdstk.FlexPath([(27.66,35.04),(27.66,40.585)], 0.17, ends="extended", simple_path=True, layer=22, datatype=0))  # L22_0
sky130_osu_sc_18t_ms__ri.add(gdstk.FlexPath([(27.64,35.04),(27.66,35.04)], 0.17, ends="extended", simple_path=True, layer=22, datatype=0))  # L22_0
sky130_osu_sc_18t_ms__ri.add(gdstk.FlexPath([(25.03,35.05),(25.03,40.99)], 0.17, ends="extended", simple_path=True, layer=22, datatype=0))  # L22_0
sky130_osu_sc_18t_ms__ri.add(gdstk.FlexPath([(24.98,35.05),(25.03,35.05)], 0.17, ends=(0.165, 0.085), simple_path=True, layer=22, datatype=0))  # L22_0
sky130_osu_sc_18t_ms__ri.add(gdstk.FlexPath([(21.93,35.11),(21.98,35.11)], 0.17, ends=(0.085, 0), simple_path=True, layer=22, datatype=0))  # L22_0
sky130_osu_sc_18t_ms__ri.add(gdstk.FlexPath([(21.93,40.745),(21.93,35.11)], 0.17, ends="extended", simple_path=True, layer=22, datatype=0))  # L22_0
sky130_osu_sc_18t_ms__ri.add(gdstk.FlexPath([(22.34,40.745),(21.93,40.745)], 0.17, ends="extended", simple_path=True, layer=22, datatype=0))  # L22_0
sky130_osu_sc_18t_ms__ri.add(gdstk.FlexPath([(19.4,35.165),(19.045,35.165)], 0.17, ends="extended", simple_path=True, layer=22, datatype=0))  # L22_0
sky130_osu_sc_18t_ms__ri.add(gdstk.FlexPath([(19.4,35.095),(19.4,35.165)], 0.17, ends=(0, 0.085), simple_path=True, layer=22, datatype=0))  # L22_0
sky130_osu_sc_18t_ms__ri.add(gdstk.FlexPath([(19.045,35.165),(19.045,40.66)], 0.17, ends="extended", simple_path=True, layer=22, datatype=0))  # L22_0
sky130_osu_sc_18t_ms__ri.add(gdstk.FlexPath([(16.51,35.095),(16.51,40.87)], 0.17, ends=(0, 0.085), simple_path=True, layer=22, datatype=0))  # L22_0
sky130_osu_sc_18t_ms__ri.add(gdstk.FlexPath([(13.325,40.765),(13.325,34.935)], 0.17, ends=(0.085, 0), simple_path=True, layer=22, datatype=0))  # L22_0
sky130_osu_sc_18t_ms__ri.add(gdstk.FlexPath([(47.68,9.475),(47.68,9.44)], 0.17, ends=(0.085, 0), simple_path=True, layer=22, datatype=0))  # L22_0
sky130_osu_sc_18t_ms__ri.add(gdstk.FlexPath([(47.38,9.475),(47.68,9.475)], 0.17, ends="extended", simple_path=True, layer=22, datatype=0))  # L22_0
sky130_osu_sc_18t_ms__ri.add(gdstk.FlexPath([(5.91,9.27),(6.805,9.27)], 0.17, ends=(0.085, 0), simple_path=True, layer=22, datatype=0))  # L22_0
sky130_osu_sc_18t_ms__ri.add(gdstk.FlexPath([(43.32,9.52),(46.16,9.52)], 0.17, ends="flush", simple_path=True, layer=22, datatype=0))  # L22_0
sky130_osu_sc_18t_ms__ri.add(gdstk.FlexPath([(46.365,9.475),(47.38,9.475)], 0.17, ends=(0, 0.085), simple_path=True, layer=22, datatype=0))  # L22_0
sky130_osu_sc_18t_ms__ri.add(gdstk.FlexPath([(47.38,9.475),(47.38,5.94)], 0.17, ends="extended", simple_path=True, layer=22, datatype=0))  # L22_0
sky130_osu_sc_18t_ms__ri.add(gdstk.FlexPath([(47.38,5.94),(5.91,5.94)], 0.17, ends="extended", simple_path=True, layer=22, datatype=0))  # L22_0
sky130_osu_sc_18t_ms__ri.add(gdstk.FlexPath([(5.91,5.94),(5.91,9.27)], 0.17, ends="extended", simple_path=True, layer=22, datatype=0))  # L22_0
sky130_osu_sc_18t_ms__ri.add(gdstk.FlexPath([(40.025,9.605),(43.1,9.605)], 0.17, ends="flush", simple_path=True, layer=22, datatype=0))  # L22_0
sky130_osu_sc_18t_ms__ri.add(gdstk.FlexPath([(36.635,9.54),(39.815,9.54)], 0.17, ends="flush", simple_path=True, layer=22, datatype=0))  # L22_0
sky130_osu_sc_18t_ms__ri.add(gdstk.FlexPath([(33.085,9.575),(36.425,9.575)], 0.17, ends="flush", simple_path=True, layer=22, datatype=0))  # L22_0
sky130_osu_sc_18t_ms__ri.add(gdstk.FlexPath([(29.645,9.535),(32.875,9.535)], 0.17, ends="flush", simple_path=True, layer=22, datatype=0))  # L22_0
sky130_osu_sc_18t_ms__ri.add(gdstk.FlexPath([(26.375,9.615),(29.435,9.615)], 0.17, ends="flush", simple_path=True, layer=22, datatype=0))  # L22_0
sky130_osu_sc_18t_ms__ri.add(gdstk.FlexPath([(23.015,9.615),(26.15,9.615)], 0.17, ends="flush", simple_path=True, layer=22, datatype=0))  # L22_0
sky130_osu_sc_18t_ms__ri.add(gdstk.FlexPath([(19.875,9.525),(22.82,9.525)], 0.17, ends="flush", simple_path=True, layer=22, datatype=0))  # L22_0
sky130_osu_sc_18t_ms__ri.add(gdstk.FlexPath([(16.945,9.48),(19.67,9.48)], 0.17, ends="flush", simple_path=True, layer=22, datatype=0))  # L22_0
sky130_osu_sc_18t_ms__ri.add(gdstk.FlexPath([(13.725,9.565),(16.745,9.565)], 0.17, ends="flush", simple_path=True, layer=22, datatype=0))  # L22_0
sky130_osu_sc_18t_ms__ri.add(gdstk.FlexPath([(10.455,9.595),(13.515,9.595)], 0.17, ends="flush", simple_path=True, layer=22, datatype=0))  # L22_0
sky130_osu_sc_18t_ms__ri.add(gdstk.FlexPath([(7.015,9.595),(10.26,9.595)], 0.17, ends="flush", simple_path=True, layer=22, datatype=0))  # L22_0
sky130_osu_sc_18t_ms__ri.add(gdstk.FlexPath([(30.555,40.91),(31.64,40.91)], 0.17, ends=(0.085, 0), simple_path=True, layer=22, datatype=0))  # L22_0
sky130_osu_sc_18t_ms__ri.add(gdstk.FlexPath([(30.54,35.04),(30.54,34.96)], 0.33, ends=(0.085, 0.085), simple_path=True, layer=22, datatype=0))  # L22_0
sky130_osu_sc_18t_ms__ri.add(gdstk.FlexPath([(27.66,40.585),(28.875,40.585)], 0.17, ends=(0.085, 0), simple_path=True, layer=22, datatype=0))  # L22_0
sky130_osu_sc_18t_ms__ri.add(gdstk.FlexPath([(25.03,40.99),(26.055,40.99)], 0.17, ends=(0.085, 0), simple_path=True, layer=22, datatype=0))  # L22_0
sky130_osu_sc_18t_ms__ri.add(gdstk.FlexPath([(24.98,35.05),(24.98,35.13)], 0.33, ends=(0.085, 0.085), simple_path=True, layer=22, datatype=0))  # L22_0
sky130_osu_sc_18t_ms__ri.add(gdstk.FlexPath([(22.34,40.745),(22.34,40.725)], 0.17, ends=(0.085, 0), simple_path=True, layer=22, datatype=0))  # L22_0
sky130_osu_sc_18t_ms__ri.add(gdstk.FlexPath([(22.73,40.745),(22.34,40.745)], 0.17, ends=(0, 0.085), simple_path=True, layer=22, datatype=0))  # L22_0
sky130_osu_sc_18t_ms__ri.add(gdstk.FlexPath([(21.07,46.055),(21.07,48.62)], 0.17, ends=(0, 0.085), simple_path=True, layer=22, datatype=0))  # L22_0
sky130_osu_sc_18t_ms__ri.add(gdstk.FlexPath([(19.045,40.66),(19.85,40.66)], 0.17, ends=(0.085, 0), simple_path=True, layer=22, datatype=0))  # L22_0
sky130_osu_sc_18t_ms__ri.add(gdstk.FlexPath([(19.4,35.095),(19.4,35.015)], 0.33, ends=(0, 0.085), simple_path=True, layer=22, datatype=0))  # L22_0
sky130_osu_sc_18t_ms__ri.add(gdstk.FlexPath([(16.51,40.87),(17.155,40.87)], 0.17, ends=(0.085, 0), simple_path=True, layer=22, datatype=0))  # L22_0
sky130_osu_sc_18t_ms__ri.add(gdstk.FlexPath([(16.51,35.095),(16.51,35.175)], 0.33, ends=(0, 0.085), simple_path=True, layer=22, datatype=0))  # L22_0
sky130_osu_sc_18t_ms__ri.add(gdstk.FlexPath([(14.585,40.765),(13.325,40.765)], 0.17, ends=(0, 0.085), simple_path=True, layer=22, datatype=0))  # L22_0
sky130_osu_sc_18t_ms__ri.add(gdstk.Reference(sky130_osu_sc_18t_ms__in, (46.93,38.285)))
sky130_osu_sc_18t_ms__ri.add(gdstk.Reference(sky130_osu_sc_18t_ms__in, (28.47,38.245)))
sky130_osu_sc_18t_ms__ri.add(gdstk.Reference(sky130_osu_sc_18t_ms__in, (43.795,38.235)))
sky130_osu_sc_18t_ms__ri.add(gdstk.Reference(sky130_osu_sc_18t_ms__in, (40.575,38.285)))
sky130_osu_sc_18t_ms__ri.add(gdstk.Reference(sky130_osu_sc_18t_ms__in, (36.93,38.285)))
sky130_osu_sc_18t_ms__ri.add(gdstk.Reference(sky130_osu_sc_18t_ms__in, (33.88,38.285)))
sky130_osu_sc_18t_ms__ri.add(gdstk.Reference(sky130_osu_sc_18t_ms__in, (31.235,38.285)))
sky130_osu_sc_18t_ms__ri.add(gdstk.Reference(sky130_osu_sc_18t_ms__in, (25.655,38.235)))
sky130_osu_sc_18t_ms__ri.add(gdstk.Reference(sky130_osu_sc_18t_ms__in, (22.41,38.315)))
sky130_osu_sc_18t_ms__ri.add(gdstk.Reference(sky130_osu_sc_18t_ms__in, (19.445,38.315)))
sky130_osu_sc_18t_ms__ri.add(gdstk.Reference(sky130_osu_sc_18t_ms__in, (16.755,38.425)))
sky130_osu_sc_18t_ms__ri.add(gdstk.Reference(sky130_osu_sc_18t_ms__in, (14.205,38.43)))
sky130_osu_sc_18t_ms__ri.add(gdstk.Reference(sky130_osu_sc_18t_ms__in, (45.75,6.325)))
sky130_osu_sc_18t_ms__ri.add(gdstk.Reference(sky130_osu_sc_18t_ms__in, (25.765,6.46)))
sky130_osu_sc_18t_ms__ri.add(gdstk.Reference(sky130_osu_sc_18t_ms__in, (36.025,6.41)))
sky130_osu_sc_18t_ms__ri.add(gdstk.Reference(sky130_osu_sc_18t_ms__in, (42.71,6.385)))
sky130_osu_sc_18t_ms__ri.add(gdstk.Reference(sky130_osu_sc_18t_ms__in, (39.41,6.46)))
sky130_osu_sc_18t_ms__ri.add(gdstk.Reference(sky130_osu_sc_18t_ms__in, (32.485,6.46)))
sky130_osu_sc_18t_ms__ri.add(gdstk.Reference(sky130_osu_sc_18t_ms__in, (29.045,6.405)))
sky130_osu_sc_18t_ms__ri.add(gdstk.Reference(sky130_osu_sc_18t_ms__in, (16.34,6.355)))
sky130_osu_sc_18t_ms__ri.add(gdstk.Reference(sky130_osu_sc_18t_ms__in, (22.42,6.46)))
sky130_osu_sc_18t_ms__ri.add(gdstk.Reference(sky130_osu_sc_18t_ms__in, (19.27,6.41)))
sky130_osu_sc_18t_ms__ri.add(gdstk.Reference(sky130_osu_sc_18t_ms__in, (13.12,6.405)))
sky130_osu_sc_18t_ms__ri.add(gdstk.Reference(sky130_osu_sc_18t_ms__in, (9.85,6.46)))
sky130_osu_sc_18t_ms__ri.add(gdstk.Reference(sky130_osu_sc_18t_ms__in, (6.405,6.46)))
sky130_osu_sc_18t_ms__ri.add(gdstk.Reference(pyl1_c_cdns_713893801020, (46.45,35.04)))
sky130_osu_sc_18t_ms__ri.add(gdstk.Reference(pyl1_c_cdns_713893801020, (43.11,35.06)))
sky130_osu_sc_18t_ms__ri.add(gdstk.Reference(pyl1_c_cdns_713893801020, (40.09,35.055)))
sky130_osu_sc_18t_ms__ri.add(gdstk.Reference(pyl1_c_cdns_713893801020, (36.13,35.065)))
sky130_osu_sc_18t_ms__ri.add(gdstk.Reference(pyl1_c_cdns_713893801020, (6.225,5.03)))
sky130_osu_sc_18t_ms__ri.add(gdstk.Reference(pyl1_c_cdns_713893801020, (12.885,36.345)))
sky130_osu_sc_18t_ms__ri.add(gdstk.Reference(pyl1_c_cdns_713893801020, (6.415,14.33)))
sky130_osu_sc_18t_ms__ri.add(gdstk.Reference(pyl1_c_cdns_713893801020, (12.985,47.17)))
sky130_osu_sc_18t_ms__ri.add(gdstk.Reference(pyl1_c_cdns_713893801020, (48.43,16.08)))
sky130_osu_sc_18t_ms__ri.add(gdstk.Reference(pyl1_c_cdns_713893801020, (48.575,48.57)))
sky130_osu_sc_18t_ms__ri.add(gdstk.Reference(pyl1_c_cdns_713893801020, (45.44,48.6)))
sky130_osu_sc_18t_ms__ri.add(gdstk.Reference(pyl1_c_cdns_713893801020, (42.365,48.595)))
sky130_osu_sc_18t_ms__ri.add(gdstk.Reference(pyl1_c_cdns_713893801020, (38.73,48.56)))
sky130_osu_sc_18t_ms__ri.add(gdstk.Reference(pyl1_c_cdns_713893801020, (35.45,48.54)))
sky130_osu_sc_18t_ms__ri.add(gdstk.Reference(pyl1_c_cdns_713893801020, (32.835,48.55)))
sky130_osu_sc_18t_ms__ri.add(gdstk.Reference(pyl1_c_cdns_713893801020, (30.54,35.04)))
sky130_osu_sc_18t_ms__ri.add(gdstk.Reference(pyl1_c_cdns_713893801020, (30.25,48.585)))
sky130_osu_sc_18t_ms__ri.add(gdstk.Reference(pyl1_c_cdns_713893801020, (27.23,48.56)))
sky130_osu_sc_18t_ms__ri.add(gdstk.Reference(pyl1_c_cdns_713893801020, (27.64,35.04)))
sky130_osu_sc_18t_ms__ri.add(gdstk.Reference(pyl1_c_cdns_713893801020, (24.98,35.05)))
sky130_osu_sc_18t_ms__ri.add(gdstk.Reference(pyl1_c_cdns_713893801020, (23.595,48.59)))
sky130_osu_sc_18t_ms__ri.add(gdstk.Reference(pyl1_c_cdns_713893801020, (21.98,35.11)))
sky130_osu_sc_18t_ms__ri.add(gdstk.Reference(pyl1_c_cdns_713893801020, (21.025,48.62)))
sky130_osu_sc_18t_ms__ri.add(gdstk.Reference(pyl1_c_cdns_713893801020, (19.4,35.095)))
sky130_osu_sc_18t_ms__ri.add(gdstk.Reference(pyl1_c_cdns_713893801020, (18.07,48.625)))
sky130_osu_sc_18t_ms__ri.add(gdstk.Reference(pyl1_c_cdns_713893801020, (16.51,35.095)))
sky130_osu_sc_18t_ms__ri.add(gdstk.Reference(pyl1_c_cdns_713893801020, (15.21,48.695)))
sky130_osu_sc_18t_ms__ri.add(gdstk.Reference(pyl1_c_cdns_713893801020, (33.52,35.055)))
sky130_osu_sc_18t_ms__ri.add(gdstk.Reference(l1m1_c_cdns_713893801021, (48.65,45.935)))
sky130_osu_sc_18t_ms__ri.add(gdstk.Reference(l1m1_c_cdns_713893801021, (45.495,45.965)))
sky130_osu_sc_18t_ms__ri.add(gdstk.Reference(l1m1_c_cdns_713893801021, (42.305,45.935)))
sky130_osu_sc_18t_ms__ri.add(gdstk.Reference(l1m1_c_cdns_713893801021, (38.69,45.995)))
sky130_osu_sc_18t_ms__ri.add(gdstk.Reference(l1m1_c_cdns_713893801021, (35.41,46.055)))
sky130_osu_sc_18t_ms__ri.add(gdstk.Reference(l1m1_c_cdns_713893801021, (32.795,46.055)))
sky130_osu_sc_18t_ms__ri.add(gdstk.Reference(l1m1_c_cdns_713893801021, (30.245,46.055)))
sky130_osu_sc_18t_ms__ri.add(gdstk.Reference(l1m1_c_cdns_713893801021, (27.235,46.145)))
sky130_osu_sc_18t_ms__ri.add(gdstk.Reference(l1m1_c_cdns_713893801021, (23.74,46.115)))
sky130_osu_sc_18t_ms__ri.add(gdstk.Reference(l1m1_c_cdns_713893801021, (21.07,46.055)))
sky130_osu_sc_18t_ms__ri.add(gdstk.Reference(l1m1_c_cdns_713893801021, (6.225,5.03)))
sky130_osu_sc_18t_ms__ri.add(gdstk.Reference(l1m1_c_cdns_713893801021, (12.885,36.345)))
sky130_osu_sc_18t_ms__ri.add(gdstk.Reference(l1m1_c_cdns_713893801021, (6.415,14.33)))
sky130_osu_sc_18t_ms__ri.add(gdstk.Reference(l1m1_c_cdns_713893801021, (12.98,47.17)))
sky130_osu_sc_18t_ms__ri.add(gdstk.Reference(l1m1_c_cdns_713893801021, (18.12,46.085)))
sky130_osu_sc_18t_ms__ri.add(gdstk.Reference(l1m1_c_cdns_713893801021, (15.63,45.875)))

lib.write_gds('sky130_osu_sc_18T_ms__ring_oscillator.gds')
